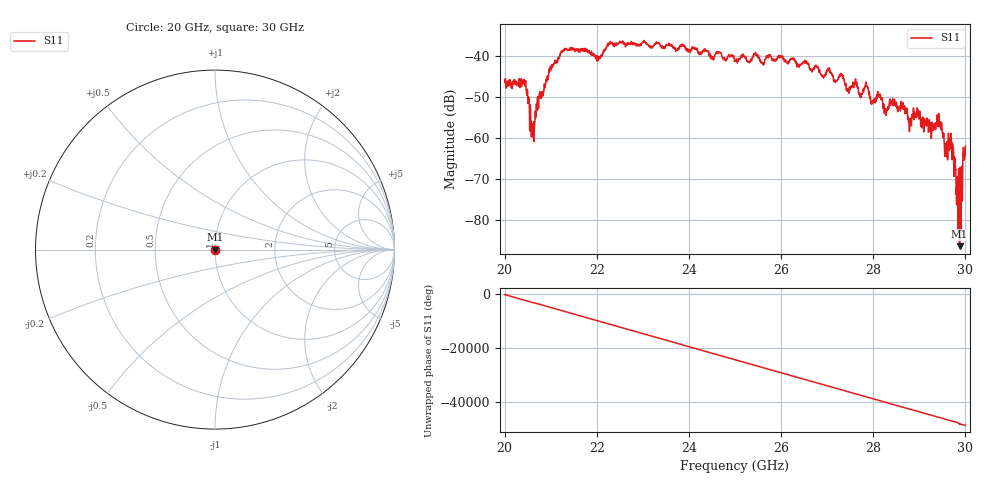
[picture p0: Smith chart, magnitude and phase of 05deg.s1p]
#  HZ  S  RI  R  50.00
! Rohde & Schwarz ZVA40 4Ports - Version 3.90 - 1145.1110k42 SN: 100403
! Date: 2023-10-03 12:41:05
! Measurement: S12
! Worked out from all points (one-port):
!   5001 points, 20 GHz to 30 GHz, reference 50 ohm
!   lowest |S11| = -86.5 dB at 29.87 GHz (marker M1), VSWR 1.00, Z = 50 - j0.000495 ohm
!   |S11| at or under -10 dB: start of sweep to end of sweep
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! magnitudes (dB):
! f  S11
! 20 GHz  -46.4
! 20.42 GHz  -45.8
! 20.62 GHz  -58.4
! 20.74 GHz  -52.9
! 21.25 GHz  -39.0
! 22.02 GHz  -40.1
! 22.5 GHz  -36.5
! 23.75 GHz  -38.5
! 25 GHz  -41.0
! 26.25 GHz  -40.6
! 27.18 GHz  -46.3
! 27.31 GHz  -44.3
! 27.5 GHz  -47.9
! 27.73 GHz  -50.1
! 27.85 GHz  -47.2
! 27.99 GHz  -50.8
! 28.12 GHz  -49.6
! 28.26 GHz  -53.9
! 28.42 GHz  -50.9
! 28.75 GHz  -55.2
! 28.97 GHz  -53.6
! 29.28 GHz  -56.9
! 29.43 GHz  -56.6
! 29.57 GHz  -63.3
! 29.69 GHz  -60.1
! 29.8 GHz  -72.3
! 29.87 GHz  -86.5
! 30 GHz  -62.0
